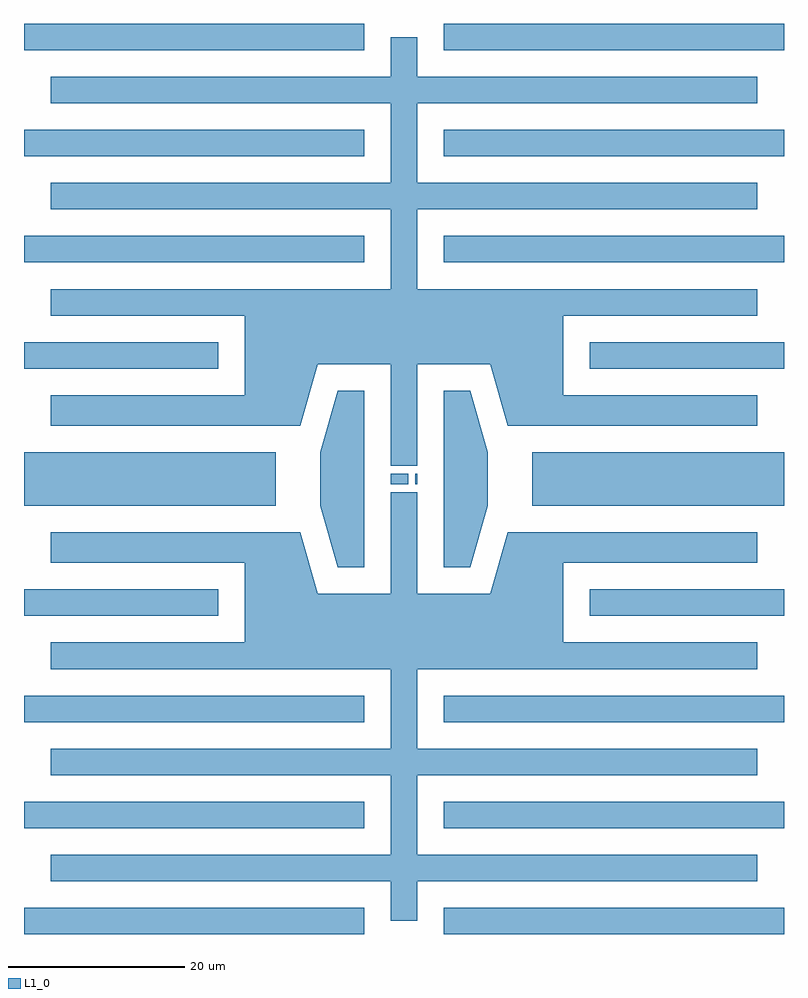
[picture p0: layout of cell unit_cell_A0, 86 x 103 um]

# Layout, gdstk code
from math import pi, radians
import gdstk
lib = gdstk.Library(unit=1e-6, precision=1e-09)
def R(c, l, rs):  # rectangles x0, y0, x1, y1
    for r in rs: c.add(gdstk.rectangle(r[:2], r[2:], *l))
def P(c, l, *ps):  # polygons
    for p in ps: c.add(gdstk.Polygon(p, *l))
L1_0 = (1, 0)

unnamed_369 = lib.new_cell('Unnamed_369')
P(unnamed_369, L1_0, [(38.5,0),(38.5,4.5),(0,4.5),(0,7.5),(38.5,7.5),(38.5,16.5),(0,16.5),(0,19.5),(38.5,19.5),(38.5,28.5),(0,28.5),(0,31.5),(22,31.5),(22,40.5),(0,40.5),(0,44),(28.237,44),(30.237,37),(38.5,37),(38.5,48.5),(40,48.5),(40,0)])

straight_l38p5_n2_csxs_e = lib.new_cell('straight_L38p5_N2_CSxs_e9659eb0')
R(straight_l38p5_n2_csxs_e, L1_0, [(0,-1.5,38.5,1.5)])

straight_array_n3_s9_l3_ = lib.new_cell('straight_array_N3_S9_L3_b91b2c6a')
straight_array_n3_s9_l3_.add(gdstk.Reference(straight_l38p5_n2_csxs_e, (0,0)))
straight_array_n3_s9_l3_.add(gdstk.Reference(straight_l38p5_n2_csxs_e, (0,12)))
straight_array_n3_s9_l3_.add(gdstk.Reference(straight_l38p5_n2_csxs_e, (0,24)))

straight_l22_n2_csxs_e96 = lib.new_cell('straight_L22_N2_CSxs_e9659eb0')
R(straight_l22_n2_csxs_e96, L1_0, [(0,-1.5,22,1.5)])

unnamed_365 = lib.new_cell('Unnamed_365')
unnamed_365.add(gdstk.Reference(straight_array_n3_s9_l3_, (-3,0)))
unnamed_365.add(gdstk.Reference(straight_l22_n2_csxs_e96, (-3,36)))

straight_l28p5_n2_csxs_4 = lib.new_cell('straight_L28p5_N2_CSxs_41e8578a')
R(straight_l28p5_n2_csxs_4, L1_0, [(0,-3,28.5,3)])

triangle_x10_x3_y5_y3_l1 = lib.new_cell('triangle_X10_X3_Y5_Y3_L1_0')
P(triangle_x10_x3_y5_y3_l1, L1_0, [(0,0),(0,5),(3,5),(10,3),(10,0)])

unnamed_367 = lib.new_cell('Unnamed_367')
unnamed_367.add(gdstk.Reference(straight_l28p5_n2_csxs_4, (-3,50)))
unnamed_367.add(gdstk.Reference(triangle_x10_x3_y5_y3_l1, (35.5,50), rotation=3*pi/2, x_reflection=True))

unnamed_370 = lib.new_cell('Unnamed_370')
unnamed_370.add(gdstk.Reference(unnamed_369, (0,0)))
unnamed_370.add(gdstk.Reference(unnamed_365, (0,0)))
unnamed_370.add(gdstk.Reference(unnamed_367, (0,0)))

rectangle_s2_0p6_lwg_cf_ = lib.new_cell('rectangle_S2_0p6_LWG_CF_a6a46f17')
R(rectangle_s2_0p6_lwg_cf_, L1_0, [(0,0,2,0.6)])

rectangle_s0p2_1p2_lwg__ = lib.new_cell('rectangle_S0p2_1p2_LWG__107b6a9b')
R(rectangle_s0p2_1p2_lwg__, L1_0, [(0,0,0.2,1.2)])

unnamed_371 = lib.new_cell('Unnamed_371')
unnamed_371.add(gdstk.Reference(rectangle_s2_0p6_lwg_cf_, (0,0)))
unnamed_371.add(gdstk.Reference(rectangle_s0p2_1p2_lwg__, (2.8,-0.6)))

unit_cell_a0 = lib.new_cell('unit_cell_A0')
unit_cell_a0.add(gdstk.Reference(unnamed_370, (0,0)))
unit_cell_a0.add(gdstk.Reference(unnamed_370, (80,0), rotation=pi, x_reflection=True))
unit_cell_a0.add(gdstk.Reference(unnamed_370, (0,100), x_reflection=True))
unit_cell_a0.add(gdstk.Reference(unnamed_370, (80,100), rotation=pi))
unit_cell_a0.add(gdstk.Reference(unnamed_371, (38.5,50)))
unit_cell_a0.add(gdstk.Reference(unnamed_371, (38.5,50), x_reflection=True))

lib.write_gds('unit_cell_A0.gds')
